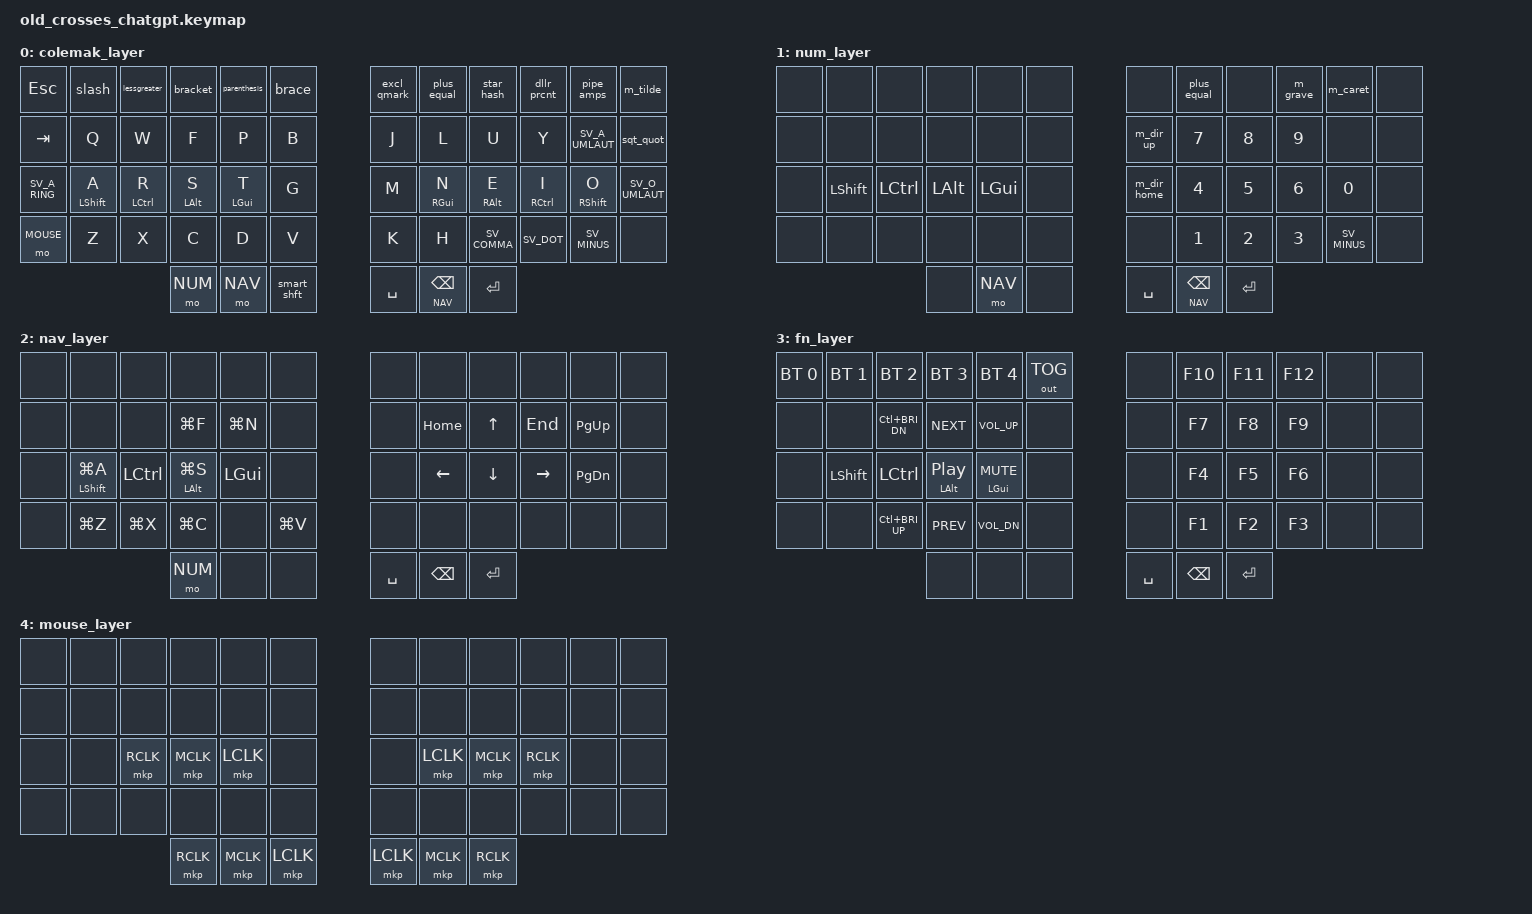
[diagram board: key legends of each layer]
#include <behaviors.dtsi>

#include <dt-bindings/zmk/bt.h>
#include <dt-bindings/zmk/keys.h>
#include <dt-bindings/zmk/pointing.h>

#ifndef KEYMAP_DRAWER
#include "keys_sv.h"
#endif

#define COLEMAK 0
#define NUM     1
#define NAV     2
#define FN      3
#define MOUSE   4

#define QUICK_TAP_MS 175

/* App shortcuts */
#define M_FIND  LG(F)
#define M_UNDO  LG(Z)
#define M_COPY  LG(C)
#define M_CUT   LG(X)
#define M_PASTE LG(V)
#define M_ALL   LG(A)
#define M_SAVE  LG(S)
#define M_NEW   LG(N)

#define BRI_UP LC(C_BRI_UP)
#define BRI_DN LC(C_BRI_DN)

/ {
    chosen {
        zmk,physical-layout = &gggw_crosses_54_layout;
    };

    behaviors {

        /*
         * Sticky key settings
         */

        sk_mod: sk_mod {
            compatible = "zmk,behavior-sticky-key";
            label = "SK_MOD";
            #binding-cells = <1>;

            bindings = <&kp>;

            release-after-ms = <900>;
            quick-release;
        };

        /*
         * Homerow mods - left hand
         */

        hml: homerow_mod_left {
            compatible = "zmk,behavior-hold-tap";
            label = "HML";
            #binding-cells = <2>;

            flavor = "balanced";
            tapping-term-ms = <280>;
            quick-tap-ms = <QUICK_TAP_MS>;
            require-prior-idle-ms = <150>;

            bindings = <&kp>, <&kp>;

            hold-trigger-key-positions =
                <6 7 8 9 10 11
                 18 19 20 21 22 23
                 30 31 32 33 34 35
                 42 43 44 45 46 47
                 51 52 53>;

            hold-trigger-on-release;
        };

        /*
         * Homerow mods - right hand
         */

        hmr: homerow_mod_right {
            compatible = "zmk,behavior-hold-tap";
            label = "HMR";
            #binding-cells = <2>;

            flavor = "balanced";
            tapping-term-ms = <280>;
            quick-tap-ms = <QUICK_TAP_MS>;
            require-prior-idle-ms = <150>;

            bindings = <&kp>, <&kp>;

            hold-trigger-key-positions =
                <0 1 2 3 4 5
                 12 13 14 15 16 17
                 24 25 26 27 28 29
                 36 37 38 39 40 41
                 48 49 50>;

            hold-trigger-on-release;
        };

        /*
         * Navigation hold taps
         */

        mt_home: mt_home {
            compatible = "zmk,behavior-hold-tap";
            label = "MT_HOME";
            #binding-cells = <2>;

            flavor = "tap-preferred";
            tapping-term-ms = <220>;
            quick-tap-ms = <220>;

            bindings = <&kp HOME>, <&kp>;
        };

        mt_end: mt_end {
            compatible = "zmk,behavior-hold-tap";
            label = "MT_END";
            #binding-cells = <2>;

            flavor = "tap-preferred";
            tapping-term-ms = <220>;
            quick-tap-ms = <220>;

            bindings = <&kp END>, <&kp>;
        };

        /*
         * Mod morphs
         */

        sqt_quot: sqt_quot {
            compatible = "zmk,behavior-mod-morph";
            label = "SQT_QUOT";
            #binding-cells = <0>;

            bindings = <&kp SV_SQT>, <&kp SV_DQT>;
            mods = <(MOD_LSFT|MOD_RSFT)>;
        };

        slash: slash {
            compatible = "zmk,behavior-mod-morph";
            label = "SLASH";
            #binding-cells = <0>;

            bindings = <&kp SV_FSLH>, <&kp SV_BSLH>;
            mods = <(MOD_LSFT|MOD_RSFT)>;
        };

        lessgreater: lessgreater {
            compatible = "zmk,behavior-mod-morph";
            label = "LESSGREATER";
            #binding-cells = <0>;

            bindings = <&kp SV_LT>, <&kp SV_GT>;
            mods = <(MOD_LSFT|MOD_RSFT)>;
        };

        bracket: bracket {
            compatible = "zmk,behavior-mod-morph";
            label = "BRACKET";
            #binding-cells = <0>;

            bindings = <&kp SV_LBKT>, <&kp SV_RBKT>;
            mods = <(MOD_LSFT|MOD_RSFT)>;
        };

        parenthesis: parenthesis {
            compatible = "zmk,behavior-mod-morph";
            label = "PAREN";
            #binding-cells = <0>;

            bindings = <&kp SV_LPAR>, <&kp SV_RPAR>;
            mods = <(MOD_LSFT|MOD_RSFT)>;
        };

        brace: brace {
            compatible = "zmk,behavior-mod-morph";
            label = "BRACE";
            #binding-cells = <0>;

            bindings = <&kp SV_LBRC>, <&kp SV_RBRC>;
            mods = <(MOD_LSFT|MOD_RSFT)>;
        };

        plus_equal: plus_equal {
            compatible = "zmk,behavior-mod-morph";
            label = "PLUS_EQUAL";
            #binding-cells = <0>;

            bindings = <&kp SV_PLUS>, <&kp SV_EQUAL>;
            mods = <(MOD_LSFT|MOD_RSFT)>;
        };

        star_hash: star_hash {
            compatible = "zmk,behavior-mod-morph";
            label = "STAR_HASH";
            #binding-cells = <0>;

            bindings = <&kp SV_STAR>, <&kp SV_HASH>;
            mods = <(MOD_LSFT|MOD_RSFT)>;
        };

        dllr_prcnt: dllr_prcnt {
            compatible = "zmk,behavior-mod-morph";
            label = "DLLR_PRCNT";
            #binding-cells = <0>;

            bindings = <&kp SV_DLLR>, <&kp SV_PRCNT>;
            mods = <(MOD_LSFT|MOD_RSFT)>;
        };

        pipe_amps: pipe_amps {
            compatible = "zmk,behavior-mod-morph";
            label = "PIPE_AMPS";
            #binding-cells = <0>;

            bindings = <&kp SV_PIPE>, <&kp SV_AMPS>;
            mods = <(MOD_LSFT|MOD_RSFT)>;
        };

        excl_qmark: excl_qmark {
            compatible = "zmk,behavior-mod-morph";
            label = "EXCL_QMARK";
            #binding-cells = <0>;

            bindings = <&kp SV_EXCL>, <&kp SV_QMARK>;
            mods = <(MOD_LSFT|MOD_RSFT)>;
        };

        smart_shft: smart_shft {
            compatible = "zmk,behavior-mod-morph";
            label = "SMART_SHIFT";
            #binding-cells = <0>;

            bindings = <&sk LSHIFT>, <&caps_word>;
            mods = <(MOD_LSFT)>;
        };
    };

    macros {

        m_tilde: m_tilde {
            compatible = "zmk,behavior-macro";
            #binding-cells = <0>;

            wait-ms = <30>;
            tap-ms = <40>;

            bindings =
                <&kp SV_TILDE>,
                <&kp SPACE>;
        };

        m_grave: m_grave {
            compatible = "zmk,behavior-macro";
            #binding-cells = <0>;

            wait-ms = <30>;
            tap-ms = <40>;

            bindings =
                <&kp SV_GRAVE>,
                <&kp SPACE>;
        };

        m_caret: m_caret {
            compatible = "zmk,behavior-macro";
            #binding-cells = <0>;

            wait-ms = <30>;
            tap-ms = <40>;

            bindings =
                <&kp SV_CARET>,
                <&kp SPACE>;
        };

        m_dir_up: m_dir_up {
            compatible = "zmk,behavior-macro";
            #binding-cells = <0>;

            wait-ms = <30>;
            tap-ms = <40>;

            bindings =
                <&kp SV_DOT>,
                <&kp SV_DOT>,
                <&kp SV_FSLH>;
        };

        m_dir_home: m_dir_home {
            compatible = "zmk,behavior-macro";
            #binding-cells = <0>;

            wait-ms = <30>;
            tap-ms = <40>;

            bindings =
                <&kp SV_TILDE>,
                <&kp SV_FSLH>;
        };
    };

    conditional_layers {
        compatible = "zmk,conditional-layers";

        fn_layer {
            if-layers = <NUM NAV>;
            then-layer = <FN>;
        };
    };

    keymap {
        compatible = "zmk,keymap";

        /*
         * ─────────────────────────────────────────
         * COLEMAK
         * ─────────────────────────────────────────
         */

        colemak_layer {

            bindings = <
/* ╭─────────────┬─────────────┬─────────────┬─────────────┬─────────────┬─────────────╮ ╭─────────────┬─────────────┬─────────────┬─────────────┬─────────────┬─────────────╮ */
    &kp ESC       &slash       &lessgreater &bracket      &parenthesis  &brace          &excl_qmark   &plus_equal   &star_hash    &dllr_prcnt   &pipe_amps    &m_tilde
/* ├─────────────┼─────────────┼─────────────┼─────────────┼─────────────┼─────────────┤ ├─────────────┼─────────────┼─────────────┼─────────────┼─────────────┼─────────────┤ */
    &kp TAB       &kp Q        &kp W        &kp F         &kp P         &kp B           &kp J         &kp L         &kp U         &kp Y         &kp SV_A_UMLAUT &sqt_quot
/* ├─────────────┼─────────────┼─────────────┼─────────────┼─────────────┼─────────────┤ ├─────────────┼─────────────┼─────────────┼─────────────┼─────────────┼─────────────┤ */
    &kp SV_A_RING &hml LSHIFT A &hml LCTRL R &hml LALT S  &hml LGUI T   &kp G           &kp M         &hmr RGUI N   &hmr RALT E   &hmr RCTRL I  &hmr RSHIFT O &kp SV_O_UMLAUT
/* ├─────────────┼─────────────┼─────────────┼─────────────┼─────────────┼─────────────┤ ├─────────────┼─────────────┼─────────────┼─────────────┼─────────────┼─────────────┤ */
    &mo MOUSE     &kp Z        &kp X        &kp C         &kp D         &kp V           &kp K         &kp H         &kp SV_COMMA  &kp SV_DOT    &kp SV_MINUS  &none
/* ╰─────────────┴─────────────┴─────────────┬─────────────┬─────────────┬─────────────┤ ├─────────────┼─────────────┼─────────────┴─────────────┴─────────────┴─────────────╯ */
                                              &mo NUM       &mo NAV       &smart_shft    &kp SPACE     &lt NAV BSPC    &kp RET
/*                                            ╰─────────────┴─────────────┴─────────────╯ ╰─────────────┴─────────────┴─────────────╯ */
            >;
        };

        /*
         * NUM
         */

        num_layer {

            bindings = <
    &none &none &none &none &none &none     &none &plus_equal &none &m_grave &m_caret &none
    &none &none &none &none &none &none     &m_dir_up &kp N7 &kp N8 &kp N9 &none &none
    &none &kp LSHIFT &kp LCTRL &kp LALT &kp LGUI &none     &m_dir_home &kp N4 &kp N5 &kp N6 &kp N0 &none
    &none &none &none &none &none &none     &none &kp N1 &kp N2 &kp N3 &kp SV_MINUS &none
                                &none &mo NAV &none     &kp SPACE &lt NAV BSPC &kp RET
            >;
        };

        /*
         * NAV
         */

        nav_layer {

            bindings = <
    &none &none &none &none &none &none     &none &none &none &none &none &none
    &none &none &none &kp M_FIND &kp M_NEW &none     &none &kp HOME &kp UP &kp END &kp PG_UP &none
    &none &hml LSHIFT M_ALL &kp LCTRL &hml LALT M_SAVE &kp LGUI &none     &none &kp LEFT &kp DOWN &kp RIGHT &kp PG_DN &none
    &none &kp M_UNDO &kp M_CUT &kp M_COPY &none &kp M_PASTE     &none &none &none &none &none &none
                                &mo NUM &none &none     &kp SPACE &kp BSPC &kp RET
            >;
        };

        /*
         * FN
         */

        fn_layer {

            bindings = <
    &bt BT_SEL 0 &bt BT_SEL 1 &bt BT_SEL 2 &bt BT_SEL 3 &bt BT_SEL 4 &out OUT_TOG     &none &kp F10 &kp F11 &kp F12 &none &none
    &none &none &kp BRI_DN &kp C_NEXT &kp C_VOL_UP &none     &none &kp F7 &kp F8 &kp F9 &none &none
    &none &kp LSHIFT &kp LCTRL &hml LALT C_PP &hml LGUI C_MUTE &none     &none &kp F4 &kp F5 &kp F6 &none &none
    &none &none &kp BRI_UP &kp C_PREV &kp C_VOL_DN &none     &none &kp F1 &kp F2 &kp F3 &none &none
                                &none &none &none     &kp SPACE &kp BSPC &kp RET
            >;
        };

        /*
         * MOUSE
         */

        mouse_layer {

            bindings = <
    &none &none &none &none &none &none     &none &none &none &none &none &none
    &none &none &none &none &none &none     &none &none &none &none &none &none
    &none &none &mkp RCLK &mkp MCLK &mkp LCLK &none     &none &mkp LCLK &mkp MCLK &mkp RCLK &none &none
    &none &none &none &none &none &none     &none &none &none &none &none &none
                                &mkp RCLK &mkp MCLK &mkp LCLK     &mkp LCLK &mkp MCLK &mkp RCLK
            >;
        };
    };
};
